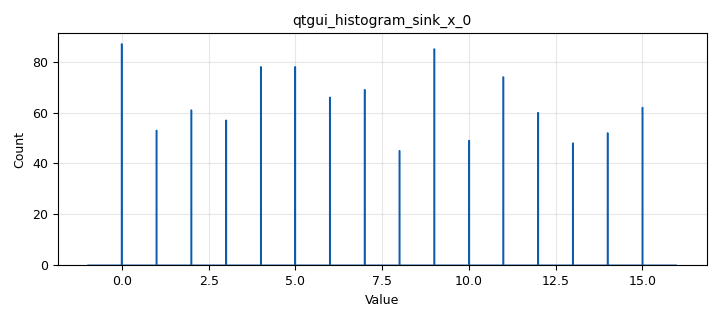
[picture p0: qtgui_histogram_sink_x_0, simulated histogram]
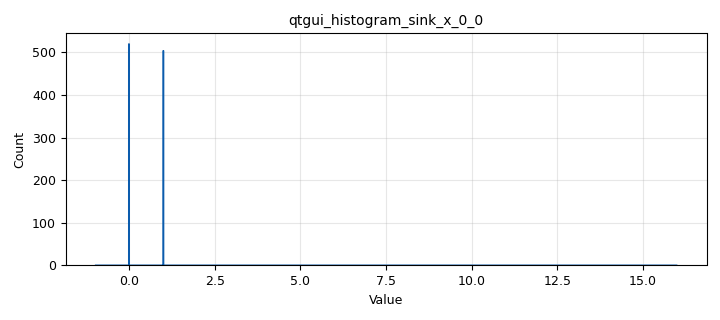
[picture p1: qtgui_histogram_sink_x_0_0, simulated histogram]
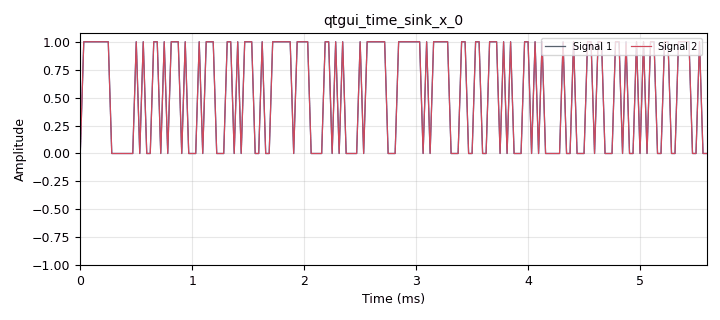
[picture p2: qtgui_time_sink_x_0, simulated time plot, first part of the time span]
options:
  parameters:
    generate_options: qt_gui
    id: pack_unpack
    output_language: python
    title: Not titled yet
  states: {}

blocks:
- name: samp_rate
  id: variable
  parameters:
    value: '32000'
  states: {}
- name: analog_random_source_x_0
  id: analog_random_source_x
  parameters:
    max: '2'
    min: '0'
    num_samps: '1000'
    repeat: 'True'
    type: byte
  states: {}
- name: blocks_char_to_float_0
  id: blocks_char_to_float
  parameters:
    scale: '1'
  states: {}
- name: blocks_char_to_float_1
  id: blocks_char_to_float
  parameters:
    scale: '1'
  states: {}
- name: blocks_char_to_float_1_0
  id: blocks_char_to_float
  parameters:
    scale: '1'
  states: {}
- name: blocks_pack_k_bits_bb_0
  id: blocks_pack_k_bits_bb
  parameters:
    k: '4'
  states: {}
- name: blocks_throttle2_0
  id: blocks_throttle2
  parameters:
    samples_per_second: samp_rate
    type: byte
  states: {}
- name: blocks_unpack_k_bits_bb_0
  id: blocks_unpack_k_bits_bb
  parameters:
    k: '4'
  states: {}
- name: qtgui_histogram_sink_x_0
  id: qtgui_histogram_sink_x
  parameters:
    bins: '1024'
    size: '1024'
    type: float
    xmax: '16'
    xmin: '-1'
  states: {}
- name: qtgui_histogram_sink_x_0_0
  id: qtgui_histogram_sink_x
  parameters:
    bins: '1024'
    size: '1024'
    type: float
    xmax: '16'
    xmin: '-1'
  states: {}
- name: qtgui_time_sink_x_0
  id: qtgui_time_sink_x
  parameters:
    nconnections: '2'
    size: '1024'
    srate: samp_rate
    type: float
  states: {}

connections:
- [analog_random_source_x_0, '0', blocks_char_to_float_1_0, '0']
- [analog_random_source_x_0, '0', blocks_throttle2_0, '0']
- [blocks_char_to_float_0, '0', qtgui_histogram_sink_x_0_0, '0']
- [blocks_char_to_float_0, '0', qtgui_time_sink_x_0, '0']
- [blocks_char_to_float_1, '0', qtgui_histogram_sink_x_0, '0']
- [blocks_char_to_float_1_0, '0', qtgui_time_sink_x_0, '1']
- [blocks_pack_k_bits_bb_0, '0', blocks_char_to_float_1, '0']
- [blocks_pack_k_bits_bb_0, '0', blocks_unpack_k_bits_bb_0, '0']
- [blocks_throttle2_0, '0', blocks_pack_k_bits_bb_0, '0']
- [blocks_unpack_k_bits_bb_0, '0', blocks_char_to_float_0, '0']

metadata:
  file_format: 1
  grc_version: 3.10.7.0
